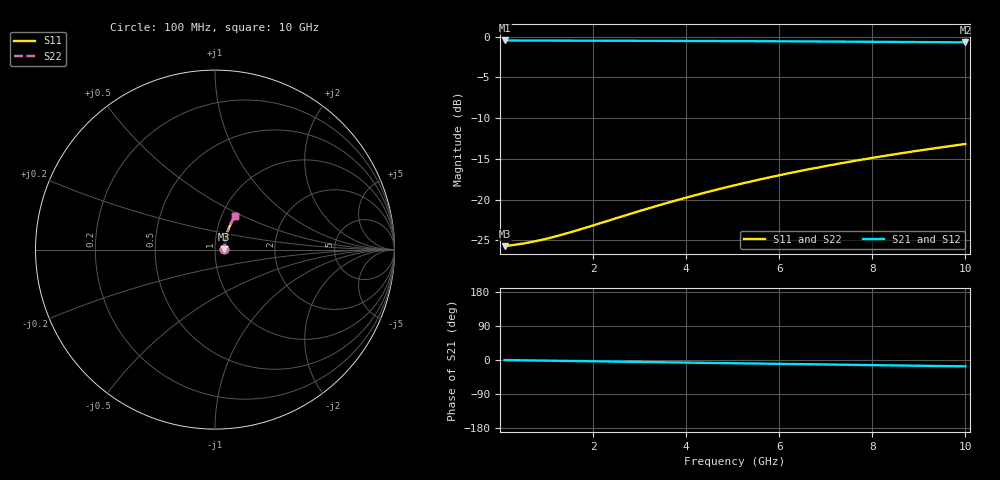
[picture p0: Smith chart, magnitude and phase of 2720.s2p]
# Hz S RI R 50.00
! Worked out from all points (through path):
!   100 points, 100 MHz to 10 GHz, reference 50 ohm
!   highest |S21| = -0.46 dB at 100 MHz (marker M1); lowest = -0.7 dB at 10 GHz (marker M2)
!   group delay of S21, straight-line fit = 4.67 ps
!   lowest |S11| = -25.7 dB at 100 MHz (marker M3), VSWR 1.11, Z = 55.5 + j0.228 ohm
!   |S11| at or under -10 dB: start of sweep to end of sweep
!   |S22| runs from -25.7 to -13.2 dB; largest |S21 - S12| = 0
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1e8  0.0518 0.00205  0.9482 -0.00283  0.9482 -0.00283  0.0518 0.00205
5e8  0.0528 0.0102  0.9471 -0.0141  0.9471 -0.0141  0.0528 0.0102
7e8  0.0533 0.0143  0.9467 -0.0198  0.9467 -0.0198  0.0533 0.0143
9e8  0.0537 0.0183  0.9463 -0.0254  0.9463 -0.0254  0.0537 0.0183
1.1e9  0.0541 0.0224  0.9459 -0.031  0.9459 -0.031  0.0541 0.0224
1.3e9  0.0546 0.0264  0.9454 -0.0366  0.9454 -0.0366  0.0546 0.0264
1.8e9  0.0558 0.0365  0.9441 -0.0506  0.9441 -0.0506  0.0558 0.0365
2.8e9  0.0591 0.0566  0.9406 -0.0785  0.9406 -0.0785  0.0591 0.0566
3.4e9  0.0616 0.0685  0.9381 -0.0951  0.9381 -0.0951  0.0616 0.0685
3.8e9  0.0634 0.0763  0.9361 -0.1061  0.9361 -0.1061  0.0634 0.0763
4.2e9  0.0654 0.0842  0.934 -0.117  0.934 -0.117  0.0654 0.0842
4.6e9  0.0677 0.0919  0.9317 -0.1279  0.9317 -0.1279  0.0677 0.0919
5.1e9  0.0706 0.1015  0.9285 -0.1414  0.9285 -0.1414  0.0706 0.1015
5.5e9  0.0732 0.1091  0.9258 -0.1522  0.9258 -0.1522  0.0732 0.1091
5.9e9  0.076 0.1166  0.9229 -0.1628  0.9229 -0.1628  0.076 0.1166
6.3e9  0.0789 0.124  0.9198 -0.1734  0.9198 -0.1734  0.0789 0.124
6.7e9  0.082 0.1313  0.9165 -0.1839  0.9165 -0.1839  0.082 0.1313
7.5e9  0.0887 0.1457  0.9095 -0.2045  0.9095 -0.2045  0.0887 0.1457
7.9e9  0.0922 0.1528  0.9058 -0.2147  0.9058 -0.2147  0.0922 0.1528
8.4e9  0.0969 0.1615  0.9008 -0.2273  0.9008 -0.2273  0.0969 0.1615
9.2e9  0.1048 0.175  0.8925 -0.2472  0.8925 -0.2472  0.1048 0.175
1e10  0.1133 0.188  0.8835 -0.2665  0.8835 -0.2665  0.1133 0.188
